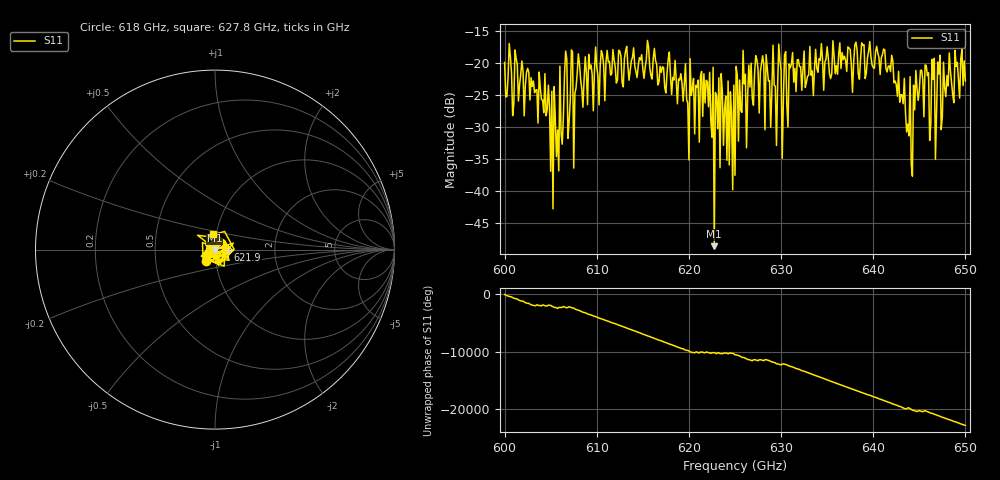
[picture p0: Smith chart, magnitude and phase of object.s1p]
!Created with skrf (http://scikit-rf.org).
# GHz S MA R 50.0
!freq magS11 angS11
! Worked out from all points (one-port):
!   401 points, 600 GHz to 650 GHz, reference 50 ohm
!   lowest |S11| = -48.6 dB at 622.8 GHz (marker M1), VSWR 1.01, Z = 49.9 - j0.363 ohm
!   |S11| at or under -10 dB: start of sweep to end of sweep
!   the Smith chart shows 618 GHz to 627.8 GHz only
!   S11 on the Smith chart (normalised r, x): 618 GHz: 0.90, -0.11; 621.9 GHz: 1.16, +0.00; 627.8 GHz: 0.96, +0.16
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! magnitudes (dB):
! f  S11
! 600 GHz  -19.9
! 604.6 GHz  -27.2
! 605 GHz  -36.9
! 605.5 GHz  -28.8
! 606.2 GHz  -32.7
! 607.8 GHz  -23.9
! 608 GHz  -18.5
! 612.5 GHz  -18.1
! 618 GHz  -22.1
! 618.8 GHz  -26.3
! 620.9 GHz  -23.8
! 621.9 GHz  -22.7
! 622.8 GHz  -48.6
! 623.8 GHz  -32.8
! 625 GHz  -37.5
! 625.8 GHz  -27.7
! 627.8 GHz  -21.3
! 630.4 GHz  -18.7
! 631.2 GHz  -18.3
! 637.5 GHz  -17.9
! 641.1 GHz  -17.8
! 643.8 GHz  -29.5
! 644 GHz  -22.1
! 644.6 GHz  -21.1
! 645.5 GHz  -28.4
! 647.6 GHz  -19.8
! 648.2 GHz  -18.4
! 650 GHz  -22.8
